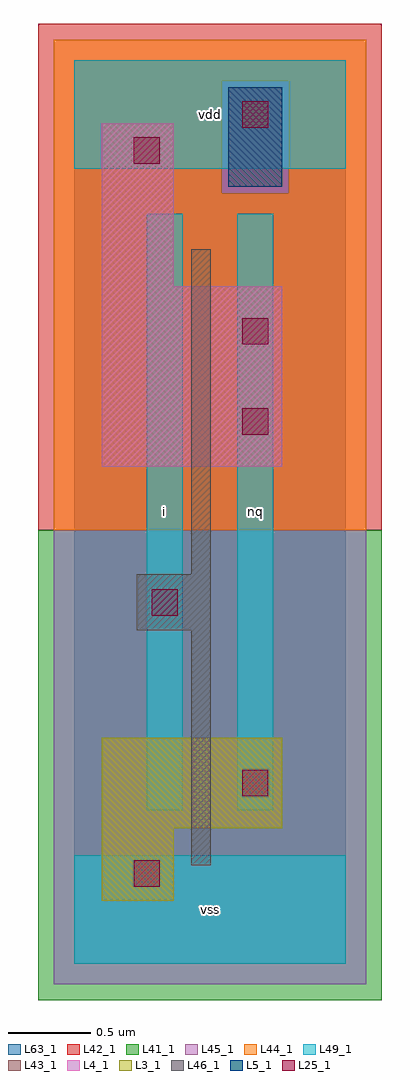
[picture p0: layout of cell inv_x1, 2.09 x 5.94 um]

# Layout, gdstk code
import gdstk
lib = gdstk.Library(unit=1e-6, precision=1e-09)
def R(c, l, rs):  # rectangles x0, y0, x1, y1
    for r in rs: c.add(gdstk.rectangle(r[:2], r[2:], *l))
L3_1 = (3, 1)
L4_1 = (4, 1)
L5_1 = (5, 1)
L25_1 = (25, 1)
L41_1 = (41, 1)
L42_1 = (42, 1)
L43_1 = (43, 1)
L44_1 = (44, 1)
L45_1 = (45, 1)
L46_1 = (46, 1)
L49_1 = (49, 1)
L63_1 = (63, 1)

inv_x1 = lib.new_cell('inv_x1')
R(inv_x1, L3_1, [(0.165,0.385,0.605,0.825), (0.165,0.825,1.265,1.375)])
R(inv_x1, L4_1, [(0.165,3.025,1.265,4.125), (0.165,4.125,0.605,5.115)])
R(inv_x1, L5_1, [(0.935,4.73,1.265,5.335)])
R(inv_x1, L25_1, [(0.36,0.47,0.52,0.63), (1.02,1.02,1.18,1.18), (0.47,2.12,0.63,2.28), (1.02,3.22,1.18,3.38), (1.02,3.77,1.18,3.93), (0.36,4.87,0.52,5.03), (1.02,5.09,1.18,5.25)])
R(inv_x1, L41_1, [(-0.22,-0.22,1.87,2.64)])
R(inv_x1, L42_1, [(-0.22,2.64,1.87,5.72)])
R(inv_x1, L43_1, [(0.165,0.385,0.605,0.825), (0.165,0.825,1.265,1.375), (0.165,3.025,1.265,4.125), (0.165,4.125,0.605,5.115), (0.935,4.73,1.265,5.335)])
R(inv_x1, L44_1, [(-0.125,2.64,1.775,4.69), (-0.125,4.69,0.895,5.375), (1.305,4.69,1.775,5.375), (-0.125,5.375,1.775,5.625)])
R(inv_x1, L45_1, [(-0.125,-0.125,1.775,2.64), (0.895,4.69,1.305,5.375)])
R(inv_x1, L46_1, [(0.71,0.6,0.83,2.03), (0.38,2.03,0.83,2.37), (0.71,2.37,0.83,4.35)])
R(inv_x1, L49_1, [(0,0,1.65,0.66), (0.44,0.935,0.66,4.565), (0.99,0.935,1.21,4.565), (0,4.84,1.65,5.5)])
R(inv_x1, L63_1, [(0,0,1.65,5.5)])
inv_x1.add(gdstk.Label('vss', (0.825,0.33), layer=49, texttype=1))
inv_x1.add(gdstk.Label('i', (0.55,2.75), layer=49, texttype=1))
inv_x1.add(gdstk.Label('vdd', (0.825,5.17), layer=49, texttype=1))
inv_x1.add(gdstk.Label('nq', (1.1,2.75), layer=49, texttype=1))

lib.write_gds('inv_x1.gds')
